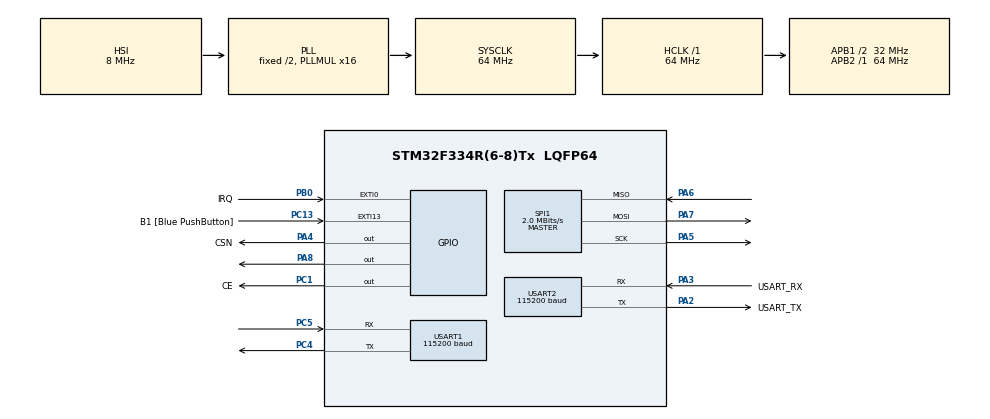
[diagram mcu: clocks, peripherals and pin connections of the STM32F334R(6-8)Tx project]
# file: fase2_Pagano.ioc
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Mcu.Family=STM32F3
Mcu.Name=STM32F334R(6-8)Tx
Mcu.Package=LQFP64
NVIC.EXTI0_IRQn=true\:0\:0\:true\:true\:true\:1
NVIC.PriorityGroup=NVIC_PRIORITYGROUP_1
NVIC.USART1_IRQn=true\:1\:1\:true\:true\:true\:2
PA13.GPIO_Label=TMS
PA13.Signal=SYS_JTMS-SWDIO
PA14.GPIO_Label=TCK
PA14.Signal=SYS_JTCK-SWCLK
PA2.GPIO_Label=USART_TX
PA2.Mode=Asynchronous
PA2.Signal=USART2_TX
PA3.GPIO_Label=USART_RX
PA3.Mode=Asynchronous
PA3.Signal=USART2_RX
PA4.GPIO_Label=CSN
PA4.Signal=GPIO_Output
PA5.Mode=Full_Duplex_Master
PA5.Signal=SPI1_SCK
PA6.Mode=Full_Duplex_Master
PA6.Signal=SPI1_MISO
PA7.Mode=Full_Duplex_Master
PA7.Signal=SPI1_MOSI
PA8.Signal=GPIO_Output
PB0.GPIO_Label=IRQ
PB0.GPIO_ModeDefaultEXTI=GPIO_MODE_IT_FALLING
PB0.GPIO_PuPd=GPIO_PULLUP
PB0.Signal=GPXTI0
PB3.GPIO_Label=SWO
PB3.Signal=SYS_JTDO-TRACESWO
PC1.GPIO_Label=CE
PC1.Signal=GPIO_Output
PC13.GPIO_Label=B1 [Blue PushButton]
PC13.GPIO_ModeDefaultEXTI=GPIO_MODE_EVT_RISING
PC13.Signal=GPXTI13
PC14\ /\ OSC32_IN.Signal=RCC_OSC32_IN
PC15\ /\ OSC32_OUT.GPIO_Label=RCC_OSC32_OUT
PC15\ /\ OSC32_OUT.Signal=RCC_OSC32_OUT
PC4.Mode=Asynchronous
PC4.Signal=USART1_TX
PC5.Mode=Asynchronous
PC5.Signal=USART1_RX
PF0\ /\ OSC_IN.Signal=RCC_OSC_IN
PF1\ /\ OSC_OUT.Signal=RCC_OSC_OUT
ProjectManager.HeapSize=0x200
ProjectManager.StackSize=0x400
ProjectManager.TargetToolchain=EWARM
RCC.AHBFreq_Value=64000000
RCC.APB1CLKDivider=RCC_HCLK_DIV2
RCC.APB1Freq_Value=32000000
RCC.APB1TimFreq_Value=64000000
RCC.APB2Freq_Value=64000000
RCC.APB2TimFreq_Value=64000000
RCC.CortexFreq_Value=64000000
RCC.FLatency-AdvancedSettings=FLASH_LATENCY_2
RCC.HCLKFreq_Value=64000000
RCC.HSE_VALUE=8000000
RCC.HSI_VALUE=8000000
RCC.LSE_VALUE=32768
RCC.PLLMUL=RCC_PLL_MUL16
RCC.SYSCLKFreq_VALUE=64000000
RCC.SYSCLKSourceVirtual=RCC_SYSCLKSOURCE_PLLCLK
SPI1.BaudRatePrescaler=SPI_BAUDRATEPRESCALER_32
SPI1.CLKPolarity=SPI_POLARITY_LOW
SPI1.CalculateBaudRate=2.0 MBits/s
SPI1.DataSize=SPI_DATASIZE_8BIT
SPI1.Mode=SPI_MODE_MASTER
USART1.BaudRate=115200
USART1.WordLength=UART_WORDLENGTH_8B
USART2.BaudRate=115200
USART2.WordLength=UART_WORDLENGTH_8B
board=NUCLEO-F334R8

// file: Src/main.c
/**
  ******************************************************************************
  * File Name          : main.c
  * Description        : Main program body
  ******************************************************************************
  *
  * COPYRIGHT(c) 2016 STMicroelectronics
  *
  * Redistribution and use in source and binary forms, with or without modification,
  * are permitted provided that the following conditions are met:
  *   1. Redistributions of source code must retain the above copyright notice,
  *      this list of conditions and the following disclaimer.
  *   2. Redistributions in binary form must reproduce the above copyright notice,
  *      this list of conditions and the following disclaimer in the documentation
  *      and/or other materials provided with the distribution.
  *   3. Neither the name of STMicroelectronics nor the names of its contributors
  *      may be used to endorse or promote products derived from this software
  *      without specific prior written permission.
  *
  * THIS SOFTWARE IS PROVIDED BY THE COPYRIGHT HOLDERS AND CONTRIBUTORS "AS IS"
  * AND ANY EXPRESS OR IMPLIED WARRANTIES, INCLUDING, BUT NOT LIMITED TO, THE
  * IMPLIED WARRANTIES OF MERCHANTABILITY AND FITNESS FOR A PARTICULAR PURPOSE ARE
  * DISCLAIMED. IN NO EVENT SHALL THE COPYRIGHT HOLDER OR CONTRIBUTORS BE LIABLE
  * FOR ANY DIRECT, INDIRECT, INCIDENTAL, SPECIAL, EXEMPLARY, OR CONSEQUENTIAL
  * DAMAGES (INCLUDING, BUT NOT LIMITED TO, PROCUREMENT OF SUBSTITUTE GOODS OR
  * SERVICES; LOSS OF USE, DATA, OR PROFITS; OR BUSINESS INTERRUPTION) HOWEVER
  * CAUSED AND ON ANY THEORY OF LIABILITY, WHETHER IN CONTRACT, STRICT LIABILITY,
  * OR TORT (INCLUDING NEGLIGENCE OR OTHERWISE) ARISING IN ANY WAY OUT OF THE USE
  * OF THIS SOFTWARE, EVEN IF ADVISED OF THE POSSIBILITY OF SUCH DAMAGE.
  *
  ******************************************************************************
  */
#include "stm32f3xx_hal.h"

/* USER CODE BEGIN Includes */
#include "nrf24l01_defines.h"
#include "pagano_dll_library.h"
#include "pagano_app_library.h"

#define PAYLOAD_LENGTH  6
#define BUFRXDIM 360

/* USER CODE END Includes */

SPI_HandleTypeDef hspi1;

UART_HandleTypeDef huart1;
UART_HandleTypeDef huart2;

/* USER CODE BEGIN PV */
/* Private variables ---------------------------------------------------------*/

/* USER CODE END PV */

void SystemClock_Config(void);
static void MX_GPIO_Init(void);
static void MX_SPI1_Init(void);
static void MX_USART1_UART_Init(void);
static void MX_USART2_UART_Init(void);
void MX_NVIC_Init(void);

/* USER CODE BEGIN PFP */
/* Private function prototypes -----------------------------------------------*/
void initialize_nrf24l01();
void send_bytes(uint8_t *b);
/* USER CODE END PFP */

/* USER CODE BEGIN 0 */
uint8_t bufferURx; //singolo byte ricevuto dietro IT da UART1
uint8_t bufferSRx; //singolo byte ricevuto da SPI
uint8_t bufferSTx[PAYLOAD_LENGTH]; //buffer di 6 byte trasmesso su SPI
uint8_t stateU, j, a, k; //stateU e' un flag che indica che è possibile stampare il buffer buf
uint8_t buf[BUFRXDIM]; //accumulatore di caratteri per stampa complessiva
uint8_t bufS[4]; //stringa usata per stampare il valore esadecimale inviato tramite SPI
uint8_t statoLed, config_reg;
uint8_t set_value[4];
uint8_t get_sent;
/* USER CODE END 0 */

int main(void)
{

  /* USER CODE BEGIN 1 */
  //HAL_StatusTypeDef stato; //per il confrollo del risultato delle operazioni di transmit o receive
  int c;
  stateU =  0;
  statoLed = 0;
  j = a = k = 0;
  /* USER CODE END 1 */

  /* MCU Configuration----------------------------------------------------------*/

  /* Reset of all peripherals, Initializes the Flash interface and the Systick. */
  HAL_Init();

  /* Configure the system clock */
  SystemClock_Config();

  /* Initialize all configured peripherals */
  MX_GPIO_Init();
  MX_SPI1_Init();
  MX_USART1_UART_Init();
  MX_USART2_UART_Init();

  /* Initialize interrupts */
  MX_NVIC_Init();

  /* USER CODE BEGIN 2 */
  HAL_UART_Receive_IT(&huart1, &bufferURx, 1);
  initialize_nrf24l01();
  HAL_Delay(1000);
  /* USER CODE END 2 */

  /* Infinite loop */
  while (1)
  {

  /* USER CODE BEGIN 3 */

    if(stateU == 1){ //flag per indicare che è possibile stampare il buffer buf

      if(j == 0){
        HAL_UART_Transmit(&huart2, "\n\r", 2, 1000);
        HAL_UART_Transmit(&huart2, buf, BUFRXDIM, 1000);
      }
      else {
        HAL_UART_Transmit(&huart2, "\n\r", 2, 1000);
        for(c = 0; c < j; c++)HAL_UART_Transmit(&huart2, &buf[c], 1, 100); //stampo a schermo il buffer buf a schermo fino all'ultimo carattere significativo
      }
      stateU = 0;
      j = 0;

    }

    if(a % 2 == 0){ //comportamento schedulato ogni 1 sec

      if(k % 2 == 0){ //cambio lo stato dei led
        statoLed = (statoLed + 1) % 4;

        set_value[0] = statoLed;

        //set_tx_mode();
        SET_command(LED, set_value);

      }else{ //GET var id 1 o 2
        if(k % 3 == 1){ //var 2
          //set_tx_mode();
          GET_command(INC);
        }else{ //var 1
          //set_tx_mode();
          GET_command(TIM);
        }

      }

      /*for(i = 0; i < PAYLOAD_LENGHT; i++){
        bufferSTx[i] = k + i; //preparo un nuovo valore da trasmettere
      }

      send_payload(bufferSTx);
      HAL_UART_Transmit(&huart2, "\n\rSPI[f3]: 0x", 13, 100);
      for(i = 0; i < PAYLOAD_LENGHT; i++){
        sprintf(bufS, "%x", bufferSTx[i]); //salvo tale valore su bufS per poterlo stampare su docklight
        HAL_UART_Transmit(&huart2, bufS, 4, 100); //stampo il valore trasmesso tramite SPI
        HAL_UART_Transmit(&huart2, " ", 1, 100);
      }

      HAL_UART_Transmit(&huart2, "\n\r", 2, 100);*/

      a = 0;
      k = (k+1)%4;
    }

    /*//lettura config (debug)
      config_reg = read_register(CONFIG);
      memset(bufS, 0, 4);
      sprintf(bufS, "%x", config_reg);
      HAL_UART_Transmit(&huart2, "\n\rCONFIG_REG = 0x", 17, 100);
      HAL_UART_Transmit(&huart2, bufS, 4, 100);
      //lettura status (debug)
      config_reg = read_register(STATUS);
      memset(bufS, 0, 4);
      sprintf(bufS, "%x", config_reg);
      HAL_UART_Transmit(&huart2, "\n\rSTATUS_REG = 0x", 17, 100);
      HAL_UART_Transmit(&huart2, bufS, 4, 100);*/
      /*//lettura enAA (debug)
      config_reg = read_register(EN_AA);
      memset(bufS, 0, 4);
      sprintf(bufS, "%x", config_reg);
      HAL_UART_Transmit(&huart2, "\n\rEN_AA_REG = 0x", 16, 100);
      HAL_UART_Transmit(&huart2, bufS, 4, 100);
      //lettura enRXADDR (debug)
      config_reg = read_register(EN_AA);
      memset(bufS, 0, 4);
      sprintf(bufS, "%x", config_reg);
      HAL_UART_Transmit(&huart2, "\n\rEN_RXADDR_REG = 0x", 20, 100);
      HAL_UART_Transmit(&huart2, bufS, 4, 100);*/

    HAL_Delay(500);
    a++;

  }
  /* USER CODE END 3 */

}

/** System Clock Configuration
*/
void SystemClock_Config(void)
{

  RCC_OscInitTypeDef RCC_OscInitStruct;
  RCC_ClkInitTypeDef RCC_ClkInitStruct;
  RCC_PeriphCLKInitTypeDef PeriphClkInit;

  RCC_OscInitStruct.OscillatorType = RCC_OSCILLATORTYPE_HSI;
  RCC_OscInitStruct.HSIState = RCC_HSI_ON;
  RCC_OscInitStruct.HSICalibrationValue = 16;
  RCC_OscInitStruct.PLL.PLLState = RCC_PLL_ON;
  RCC_OscInitStruct.PLL.PLLSource = RCC_PLLSOURCE_HSI;
  RCC_OscInitStruct.PLL.PLLMUL = RCC_PLL_MUL16;
  HAL_RCC_OscConfig(&RCC_OscInitStruct);

  RCC_ClkInitStruct.ClockType = RCC_CLOCKTYPE_HCLK|RCC_CLOCKTYPE_SYSCLK
                              |RCC_CLOCKTYPE_PCLK1|RCC_CLOCKTYPE_PCLK2;
  RCC_ClkInitStruct.SYSCLKSource = RCC_SYSCLKSOURCE_PLLCLK;
  RCC_ClkInitStruct.AHBCLKDivider = RCC_SYSCLK_DIV1;
  RCC_ClkInitStruct.APB1CLKDivider = RCC_HCLK_DIV2;
  RCC_ClkInitStruct.APB2CLKDivider = RCC_HCLK_DIV1;
  HAL_RCC_ClockConfig(&RCC_ClkInitStruct, FLASH_LATENCY_2);

  PeriphClkInit.PeriphClockSelection = RCC_PERIPHCLK_USART1;
  PeriphClkInit.Usart1ClockSelection = RCC_USART1CLKSOURCE_PCLK1;
  HAL_RCCEx_PeriphCLKConfig(&PeriphClkInit);

  HAL_SYSTICK_Config(HAL_RCC_GetHCLKFreq()/1000);

  HAL_SYSTICK_CLKSourceConfig(SYSTICK_CLKSOURCE_HCLK);

  /* SysTick_IRQn interrupt configuration */
  HAL_NVIC_SetPriority(SysTick_IRQn, 0, 0);
}

/** NVIC Configuration
*/
void MX_NVIC_Init(void)
{
  /* EXTI0_IRQn interrupt configuration */
  HAL_NVIC_SetPriority(EXTI0_IRQn, 0, 0);
  HAL_NVIC_EnableIRQ(EXTI0_IRQn);
  /* USART1_IRQn interrupt configuration */
  HAL_NVIC_SetPriority(USART1_IRQn, 1, 1);
  HAL_NVIC_EnableIRQ(USART1_IRQn);
}

/* SPI1 init function */
void MX_SPI1_Init(void)
{

  hspi1.Instance = SPI1;
  hspi1.Init.Mode = SPI_MODE_MASTER;
  hspi1.Init.Direction = SPI_DIRECTION_2LINES;
  hspi1.Init.DataSize = SPI_DATASIZE_8BIT;
  hspi1.Init.CLKPolarity = SPI_POLARITY_LOW;
  hspi1.Init.CLKPhase = SPI_PHASE_1EDGE;
  hspi1.Init.NSS = SPI_NSS_SOFT;
  hspi1.Init.BaudRatePrescaler = SPI_BAUDRATEPRESCALER_32;
  hspi1.Init.FirstBit = SPI_FIRSTBIT_MSB;
  hspi1.Init.TIMode = SPI_TIMODE_DISABLE;
  hspi1.Init.CRCCalculation = SPI_CRCCALCULATION_DISABLE;
  hspi1.Init.CRCPolynomial = 7;
  hspi1.Init.CRCLength = SPI_CRC_LENGTH_DATASIZE;
  hspi1.Init.NSSPMode = SPI_NSS_PULSE_ENABLE;
  HAL_SPI_Init(&hspi1);

}

/* USART1 init function */
void MX_USART1_UART_Init(void)
{

  huart1.Instance = USART1;
  huart1.Init.BaudRate = 115200;
  huart1.Init.WordLength = UART_WORDLENGTH_8B;
  huart1.Init.StopBits = UART_STOPBITS_1;
  huart1.Init.Parity = UART_PARITY_NONE;
  huart1.Init.Mode = UART_MODE_TX_RX;
  huart1.Init.HwFlowCtl = UART_HWCONTROL_NONE;
  huart1.Init.OverSampling = UART_OVERSAMPLING_16;
  huart1.Init.OneBitSampling = UART_ONE_BIT_SAMPLE_DISABLE;
  huart1.AdvancedInit.AdvFeatureInit = UART_ADVFEATURE_NO_INIT;
  HAL_UART_Init(&huart1);

}

/* USART2 init function */
void MX_USART2_UART_Init(void)
{

  huart2.Instance = USART2;
  huart2.Init.BaudRate = 115200;
  huart2.Init.WordLength = UART_WORDLENGTH_8B;
  huart2.Init.StopBits = UART_STOPBITS_1;
  huart2.Init.Parity = UART_PARITY_NONE;
  huart2.Init.Mode = UART_MODE_TX_RX;
  huart2.Init.HwFlowCtl = UART_HWCONTROL_NONE;
  huart2.Init.OverSampling = UART_OVERSAMPLING_16;
  huart2.Init.OneBitSampling = UART_ONE_BIT_SAMPLE_DISABLE;
  huart2.AdvancedInit.AdvFeatureInit = UART_ADVFEATURE_NO_INIT;
  HAL_UART_Init(&huart2);

}

/** Configure pins as
        * Analog
        * Input
        * Output
        * EVENT_OUT
        * EXTI
*/
void MX_GPIO_Init(void)
{

  GPIO_InitTypeDef GPIO_InitStruct;

  /* GPIO Ports Clock Enable */
  __HAL_RCC_GPIOC_CLK_ENABLE();
  __HAL_RCC_GPIOF_CLK_ENABLE();
  __HAL_RCC_GPIOA_CLK_ENABLE();
  __HAL_RCC_GPIOB_CLK_ENABLE();

  /*Configure GPIO pin : B1_Pin */
  GPIO_InitStruct.Pin = B1_Pin;
  GPIO_InitStruct.Mode = GPIO_MODE_EVT_RISING;
  GPIO_InitStruct.Pull = GPIO_NOPULL;
  HAL_GPIO_Init(B1_GPIO_Port, &GPIO_InitStruct);

  /*Configure GPIO pin : CE_Pin */
  GPIO_InitStruct.Pin = CE_Pin;
  GPIO_InitStruct.Mode = GPIO_MODE_OUTPUT_PP;
  GPIO_InitStruct.Pull = GPIO_NOPULL;
  GPIO_InitStruct.Speed = GPIO_SPEED_FREQ_LOW;
  HAL_GPIO_Init(CE_GPIO_Port, &GPIO_InitStruct);

  /*Configure GPIO pins : CSN_Pin PA8 */
  GPIO_InitStruct.Pin = CSN_Pin|GPIO_PIN_8;
  GPIO_InitStruct.Mode = GPIO_MODE_OUTPUT_PP;
  GPIO_InitStruct.Pull = GPIO_NOPULL;
  GPIO_InitStruct.Speed = GPIO_SPEED_FREQ_LOW;
  HAL_GPIO_Init(GPIOA, &GPIO_InitStruct);

  /*Configure GPIO pin : IRQ_Pin */
  GPIO_InitStruct.Pin = IRQ_Pin;
  GPIO_InitStruct.Mode = GPIO_MODE_IT_FALLING;
  GPIO_InitStruct.Pull = GPIO_PULLUP;
  HAL_GPIO_Init(IRQ_GPIO_Port, &GPIO_InitStruct);

  /*Configure GPIO pin Output Level */
  HAL_GPIO_WritePin(CE_GPIO_Port, CE_Pin, GPIO_PIN_RESET);

  /*Configure GPIO pin Output Level */
  HAL_GPIO_WritePin(GPIOA, CSN_Pin|GPIO_PIN_8, GPIO_PIN_RESET);

}

/* USER CODE BEGIN 4 */

void HAL_GPIO_EXTI_Callback(uint16_t GPIO_Pin)
{
  /* NOTE: This function should not be modified, when the callback is needed,
           the HAL_GPIO_EXTI_Callback could be implemented in the user file
   */

  uint8_t value;

  HAL_UART_Transmit(&huart2, "\n\r\tInterrupt on IRQ PIN", 23, 200);

  value = read_bit(STATUS, TX_DS);
  if(value == 1){ //ACK ricevuto

    HAL_UART_Transmit(&huart2, "\n\r\tTX_DS Interrupt\n\r", 20, 200);

    write_bit(STATUS, TX_DS, 1);
    set_rx_mode();

  }else{

    value = read_bit(STATUS, RX_DR);

    if(value == 1){ //ricezione completata

      HAL_UART_Transmit(&huart2, "\n\r\tRX_DR Interrupt\n\r", 20, 200);

      write_bit(STATUS, RX_DR, 1);
      read_payload();

    }else{

      value = read_bit(STATUS, MAX_RT);
      if(value == 1){ // MAX RT asserted

        HAL_UART_Transmit(&huart2, "\n\r\tMAX_RT Interrupt\n\r", 21, 200);

        write_bit(STATUS, MAX_RT, 1);
        flush_tx_fifo();

      }
    }
  }

}

void HAL_UART_RxCpltCallback(UART_HandleTypeDef *huart)
{

  char aux = (char)bufferURx; //memorizzo il carattere in una variabile di appoggio

  if(huart == &huart1){

    buf[j] = bufferURx;
    j = (j+1)%BUFRXDIM;

    if(j == 0 || aux == '\r'){//è stata raggiunta la dimensione massima del buffer buf o è stato incontrato un ritorno a capo

        stateU = 1; //flag per indicare che il buffer buf può essere letto nel main

    }

    HAL_UART_Receive_IT(&huart1, &bufferURx, 1); //riabilito l'interrupt
    return;

  }

}

/* USER CODE END 4 */

/************************ (C) COPYRIGHT STMicroelectronics *****END OF FILE****/
